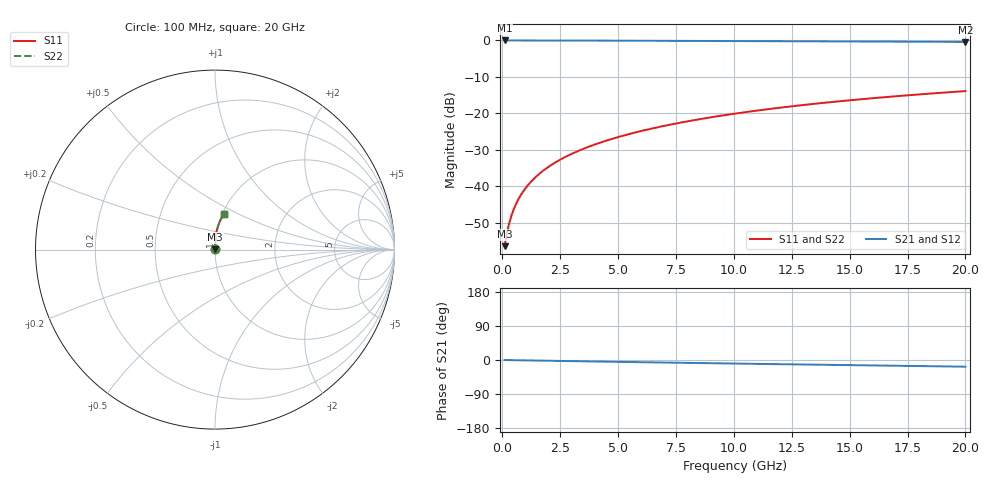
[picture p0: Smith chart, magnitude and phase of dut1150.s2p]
! Touchstone file exported from HFSS 2024.1.0
!  File:  C:/UserFiles/LocalFiles/RDL_TSV_Batchsim/temp_RDL_bottom_1150_1780056017.aedt
!  Generated:  08:02:37 PM May 29, 2026
!  Design:  RDL_bottom
!  Project:  temp_RDL_bottom_1150_1780056017
!  Setup:  Setup1
!  Solution:  Sweep
! Variables:
!  dtsv = 10.80580581um
!  hbump = 3um
!  htsv = 50.83um
!  ldown = 216.84um
!  lrdl = 100um
!  p = 40
!  p1 = 48.87um
!  rhole = 1um
!  t = 450um
!  tdown = 4.05um
!  trdl = 3.915915916um
!  wdown = 19.49um
!  wrdl = 20um
# GHz S MA R 50.000000
! Terminal data exported
! Port[1] = RDL1_T1
! Port[2] = RDL1_T2
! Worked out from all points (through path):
!   200 points, 100 MHz to 20 GHz, reference 50 ohm
!   highest |S21| = -0.01 dB at 100 MHz (marker M1); lowest = -0.4 dB at 20 GHz (marker M2)
!   group delay of S21, straight-line fit = 2.43 ps
!   lowest |S11| = -56.4 dB at 100 MHz (marker M3), VSWR 1.00, Z = 50.1 + j0.0988 ohm
!   |S11| at or under -10 dB: start of sweep to end of sweep
!   |S22| runs from -56.4 to -13.9 dB; largest |S21 - S12| = 4.4e-15
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0.1  0.001513 40.7  0.9988 -0.1  0.9988 -0.1  0.001513 40.7
! Gamma 0 0 0 0
! Port Impedance 50 0 50 0
0.2  0.002266 59.2  0.9988 -0.2  0.9988 -0.2  0.002265 59.2
0.3  0.003123 67.7  0.9987 -0.3  0.9987 -0.3  0.003122 67.7
0.4  0.004009 72.4  0.9987 -0.4  0.9987 -0.4  0.004008 72.4
0.5  0.004903 75.3  0.9986 -0.5  0.9986 -0.5  0.004902 75.3
0.6  0.005799 77.4  0.9986 -0.6  0.9986 -0.6  0.005798 77.4
0.8  0.007596 80.1  0.9984 -0.8  0.9984 -0.8  0.007595 80.1
1.1  0.01031 82.6  0.9982 -1.1  0.9982 -1.1  0.01031 82.6
1.5  0.01395 84.4  0.9979 -1.5  0.9979 -1.5  0.01395 84.4
1.8  0.01671 85.3  0.9976 -1.8  0.9976 -1.8  0.01671 85.3
2.1  0.01948 86.0  0.9973 -2.1  0.9973 -2.1  0.01948 86.0
2.7  0.02509 86.9  0.9964 -2.7  0.9964 -2.7  0.02509 86.9
3.5  0.03268 87.5  0.9951 -3.5  0.9951 -3.5  0.03268 87.5
4.2  0.03945 87.7  0.9937 -4.2  0.9937 -4.2  0.03945 87.7
5  0.04731 87.8  0.992 -4.9  0.992 -4.9  0.04731 87.8
5.9  0.05631 87.6  0.99 -5.7  0.99 -5.7  0.05631 87.6
6.8  0.06546 87.3  0.9879 -6.6  0.9879 -6.6  0.06546 87.3
8.4  0.08199 86.4  0.9839 -8.0  0.9839 -8.0  0.08199 86.4
10.1  0.09979 85.2  0.9798 -9.4  0.9798 -9.4  0.09979 85.2
13.4  0.1345 82.4  0.9716 -12.2  0.9716 -12.2  0.1345 82.4
16.7  0.1687 79.4  0.9633 -15.0  0.9633 -15.0  0.1687 79.4
20  0.2021 76.4  0.9546 -17.6  0.9546 -17.6  0.2021 76.4
